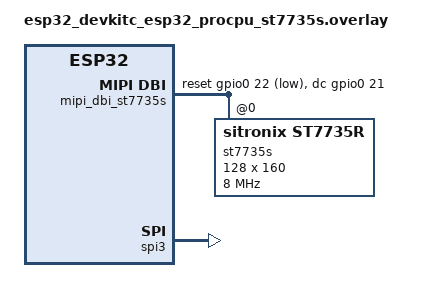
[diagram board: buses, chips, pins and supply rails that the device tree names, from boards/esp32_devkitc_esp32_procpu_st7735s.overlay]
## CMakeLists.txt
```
cmake_minimum_required(VERSION 3.20.0)
# Application-level demo selection is handled here (not in Kconfig):
# APP_DEMO_ENTRY: st7735s | st7789
set(APP_DEMO_ENTRY "st7735s" CACHE STRING "Demo entry: st7735s|st7789")
set_property(CACHE APP_DEMO_ENTRY PROPERTY STRINGS st7735s st7789)

# Auto-select overlay and extra conf defaults to keep west commands short.
# Users can still override with -DDTC_OVERLAY_FILE=... and -DEXTRA_CONF_FILE=...
if(NOT DEFINED DTC_OVERLAY_FILE)
    if(APP_DEMO_ENTRY STREQUAL "st7735s")
        set(DTC_OVERLAY_FILE "boards/esp32_devkitc_esp32_procpu_st7735s.overlay" CACHE STRING "Devicetree overlay" )
    else()
        set(DTC_OVERLAY_FILE "boards/esp32_devkitc_esp32_procpu_st7789.overlay" CACHE STRING "Devicetree overlay" )
    endif()
endif()

if(NOT DEFINED EXTRA_CONF_FILE)
    if(APP_DEMO_ENTRY STREQUAL "st7789")
        set(EXTRA_CONF_FILE "prj_st7789.conf" CACHE STRING "Extra Kconfig fragment" )
    endif()
endif()

find_package(Zephyr REQUIRED HINTS $ENV{ZEPHYR_BASE})
project(led_spi_display_verify C)

set(CMAKE_C_STANDARD 17)
set(CMAKE_C_STANDARD_REQUIRED ON)
set(CMAKE_C_EXTENSIONS OFF)

set(_APP_ENTRY_ST7735S 0)
set(_APP_ENTRY_ST7789 0)

if(APP_DEMO_ENTRY STREQUAL "st7735s")
    set(_APP_ENTRY_ST7735S 1)
elseif(APP_DEMO_ENTRY STREQUAL "st7789")
    set(_APP_ENTRY_ST7789 1)
else()
    message(FATAL_ERROR "Invalid APP_DEMO_ENTRY='${APP_DEMO_ENTRY}'. Use st7735s or st7789.")
endif()

target_compile_definitions(app PRIVATE
    APP_ENTRY_ST7735S=${_APP_ENTRY_ST7735S}
    APP_ENTRY_ST7789=${_APP_ENTRY_ST7789}
)

target_sources(app PRIVATE
    src/img/image_1_128x160_rgb565.c
    src/img/image_1_240x320_rgb565.c
    src/img/image_2_128x160_rgb565.c
    src/img/image_2_240x320_rgb565.c
    src/lcd_demo_common.c
    src/lcd_st7735s.c
    src/lcd_st7789.c
    src/main_st7735s.c
    src/main_st7789.c
    src/zpix12_font_data.c
)
```

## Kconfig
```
mainmenu "SPI display validation options"

source "Kconfig.zephyr"
```

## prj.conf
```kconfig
CONFIG_DISPLAY=y
CONFIG_DISPLAY_LOG_LEVEL_INF=y
CONFIG_SPI=y
CONFIG_GPIO=y
CONFIG_LOG=y
CONFIG_MAIN_STACK_SIZE=4096
```

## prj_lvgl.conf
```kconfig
CONFIG_LVGL=y

# Keep memory within ESP32 DRAM limits for the lightweight LVGL debug scene.
CONFIG_MAIN_STACK_SIZE=3584
CONFIG_HEAP_MEM_POOL_SIZE=7168

# LVGL Zephyr glue tuning for ST7789 color panel.
CONFIG_LV_Z_MEM_POOL_SIZE=3072
CONFIG_LV_Z_MONOCHROME_CONVERSION_BUFFER=n
CONFIG_LV_Z_BUFFER_ALLOC_DYNAMIC=y
CONFIG_LV_Z_BUFFER_ALLOC_STATIC=n
CONFIG_LV_COLOR_16_SWAP=y
CONFIG_ST7789V_RGB565=y
CONFIG_ST7789V_RGB565X=n
```

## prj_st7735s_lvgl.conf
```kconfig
CONFIG_LVGL=y

# Keep memory within ESP32 DRAM limits for the lightweight LVGL debug scene.
CONFIG_MAIN_STACK_SIZE=4096
CONFIG_HEAP_MEM_POOL_SIZE=24576

CONFIG_LV_Z_MEM_POOL_SIZE=16384
CONFIG_LV_Z_MONOCHROME_CONVERSION_BUFFER=n
CONFIG_LV_Z_BUFFER_ALLOC_DYNAMIC=y
CONFIG_LV_Z_BUFFER_ALLOC_STATIC=n
CONFIG_LV_Z_VDB_SIZE=10
CONFIG_LV_COLOR_16_SWAP=n
CONFIG_LV_FONT_UNSCII_16=y
```

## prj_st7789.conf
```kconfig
CONFIG_APP_ST7735S_DEMO=n
CONFIG_APP_ST7789_DEMO=y
```

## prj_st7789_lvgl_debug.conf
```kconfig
# Application switches are now controlled by CMake:
#   -DAPP_DEMO_ENTRY=st7789_lvgl_debug
#   -DAPP_USE_LVGL_DEMO=ON
# This file is kept for optional future LVGL-debug-only Kconfig additions.
```

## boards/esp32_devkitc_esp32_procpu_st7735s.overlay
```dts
#include <zephyr/dt-bindings/gpio/gpio.h>
#include <zephyr/dt-bindings/mipi_dbi/mipi_dbi.h>

/*
 * Wiring group A (ST7735S, 8-pin):
 * SCL/SCK -> GPIO18 (SPI3 SCK)
 * SDA/MOSI -> GPIO23 (SPI3 MOSI)
 * CS -> GPIO5
 * DC -> GPIO21
 * RES -> GPIO22
 * BLK -> GPIO4 (board-side backlight control, if used)
 */

/ {
    chosen {
        zephyr,display = &st7735s;
    };

    mipi_dbi_st7735s {
        compatible = "zephyr,mipi-dbi-spi";
        spi-dev = <&spi3>;
        dc-gpios = <&gpio0 21 GPIO_ACTIVE_HIGH>;
        reset-gpios = <&gpio0 22 GPIO_ACTIVE_LOW>;
        write-only;
        #address-cells = <1>;
        #size-cells = <0>;

        st7735s: st7735r@0 {
            compatible = "sitronix,st7735r";
            reg = <0>;
            mipi-max-frequency = <8000000>;
            mipi-mode = "MIPI_DBI_MODE_SPI_4WIRE";

            width = <128>;
            height = <160>;
            x-offset = <2>;
            y-offset = <1>;

            /* Keep inversion disabled; enabling it causes a negative-color image on this panel. */
            madctl = <0x00>;
            colmod = <0x05>;
            vmctr1 = <0x1a>;
            invctr = <0x03>;
            pwctr1 = [28 08 04];
            pwctr2 = [c0];
            pwctr3 = [0d 00];
            pwctr4 = [8d 2a];
            pwctr5 = [8d ee];
            frmctr1 = [05 3c 3c];
            frmctr2 = [05 3c 3c];
            frmctr3 = [05 3c 3c 05 3c 3c];
            caset = [00 02 00 81];
            raset = [00 01 00 a0];
            gamctrp1 = [04 22 07 0a 2e 30 25 2a 28 26 2e 3a 00 01 03 13];
            gamctrn1 = [04 16 06 0d 2d 26 23 27 27 25 2d 3b 00 01 04 13];
        };
    };
};

&spi3 {
    status = "okay";
    cs-gpios = <&gpio0 5 GPIO_ACTIVE_LOW>;
};
```

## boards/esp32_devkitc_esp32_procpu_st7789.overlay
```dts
#include <zephyr/dt-bindings/gpio/gpio.h>
#include <zephyr/dt-bindings/mipi_dbi/mipi_dbi.h>

/*
 * Wiring group B (ST7789, 7-pin):
 * SCL/SCK -> GPIO18 (SPI3 SCK, same as ST7735S)
 * SDA/MOSI -> GPIO23 (SPI3 MOSI, same as ST7735S)
 * CS -> GPIO5 (same as ST7735S)
 * DC -> GPIO21 (same as ST7735S)
 * RST -> GPIO22 (same as ST7735S)
 */

/ {
    chosen {
        zephyr,display = &st7789;
    };

    mipi_dbi_st7789 {
        compatible = "zephyr,mipi-dbi-spi";
        spi-dev = <&spi3>;
        dc-gpios = <&gpio0 21 GPIO_ACTIVE_HIGH>;
        reset-gpios = <&gpio0 22 GPIO_ACTIVE_LOW>;
        write-only;
        #address-cells = <1>;
        #size-cells = <0>;

        st7789: st7789v@0 {
            compatible = "sitronix,st7789v";
            reg = <0>;
            mipi-max-frequency = <26000000>;
            mipi-mode = "MIPI_DBI_MODE_SPI_4WIRE";

            width = <240>;
            height = <320>;
            x-offset = <0>;
            y-offset = <0>;
            vcom = <0x20>;
            gctrl = <0x56>;
            vrhs = <0x1f>;
            vdvs = <0x20>;
            mdac = <0xc0>;
            gamma = <0x01>;
            colmod = <0x55>;
            lcm = <0x2c>;
            porch-param = [0c 0c 00 33 33];
            cmd2en-param = [5a 69 02 00];
            pwctrl1-param = [a6 a1];
            pvgam-param = [d0 0d 14 0b 0b 07 3a 44 50 08 13 13 2d 32];
            nvgam-param = [d0 0d 14 0b 0b 07 3a 44 50 08 13 13 2d 32];
            ram-param = [00 e0];
            rgb-param = [40 02 14];
        };
    };
};

&spi3 {
    status = "okay";
    cs-gpios = <&gpio0 5 GPIO_ACTIVE_LOW>;
};
```

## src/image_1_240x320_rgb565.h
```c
#ifndef IMAGE_1_240X320_RGB565_H_
#define IMAGE_1_240X320_RGB565_H_

#include <stdint.h>

extern const uint8_t src_image_1_240x320_rgb565[];
extern const uint32_t src_image_1_240x320_rgb565_len;

#endif /* IMAGE_1_240X320_RGB565_H_ */
```

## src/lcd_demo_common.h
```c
#ifndef LCD_DEMO_COMMON_H_
#define LCD_DEMO_COMMON_H_

#include <stdint.h>

struct lcd_demo_profile {
    /* Identity and text content. */
    const char *panel_name;
    const char *title;
    const char *subtitle;
    const char *counter_prefix;

    /* Text and background colors (RGB565). */
    uint16_t title_color;
    uint16_t subtitle_color;
    uint16_t counter_color;
    uint16_t bg_color;

    /* Shared renderer pacing and layout. */
    uint32_t fill_block_rows;
    uint32_t counter_period_ms;
    uint8_t char_spacing;
    uint8_t line_spacing;
    uint8_t glyph_size_px;

    /* Primary image payload (RGB565 big-endian byte stream). */
    const uint8_t *image_data;
    uint32_t image_width;
    uint32_t image_height;
    uint32_t image_buf_size;

    /* Optional secondary image for slideshow mode. */
    const uint8_t *image_data_alt;
    uint32_t image_alt_width;
    uint32_t image_alt_height;
    uint32_t image_alt_buf_size;

    /* Slideshow/overlay behavior controls. */
    uint32_t image_switch_period_ms;
    uint32_t startup_white_hold_ms;
    uint32_t subtitle_frame_ms;
    uint8_t subtitle_step_px;
    uint8_t image_slideshow_only;
};

/* Run the shared demo pipeline using panel-specific profile settings. */
int lcd_demo_common_run(const struct lcd_demo_profile *profile);

#endif /* LCD_DEMO_COMMON_H_ */
```

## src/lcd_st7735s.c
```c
#include "lcd_st7735s.h"
#include "lcd_demo_common.h"
#include "img/image_1_128x160_rgb565.h"
#include "img/image_2_128x160_rgb565.h"

enum {
    ST7735S_SWITCH_PERIOD_MS = 2000,
    ST7735S_STARTUP_WHITE_MS = 80,
    ST7735S_SUBTITLE_FRAME_MS = 80,
    ST7735S_SUBTITLE_STEP_PX = 2,
};

static const struct lcd_demo_profile st7735s_profile = {
    .panel_name = "ST7735S",
    .title = "\xE5\x8A\xA8\xE6\x80\x81\xE5\xAD\x97\xE5\xB9\x95 Dynamic Caption",
    .subtitle = "\xE4\xB8\x8A\xE4\xB8\x8B\xE8\xB7\x91\xE5\x8A\xA8 / Bilingual Overlay",
    .counter_prefix = "\xE8\xAE\xA1\xE6\x95\xB0 Count:",
    .title_color = 0x0000,
    .subtitle_color = 0x0000,
    .counter_color = 0x0000,
    .bg_color = 0x0000,
    .fill_block_rows = 24U,
    .counter_period_ms = 400U,
    .char_spacing = 1U,
    .line_spacing = 2U,
    .glyph_size_px = 12U,
    .image_data = src_image_1_128x160_rgb565,
    .image_width = 128U,
    .image_height = 160U,
    .image_buf_size = 128U * 160U * 2U,
    .image_data_alt = src_image_2_128x160_rgb565,
    .image_alt_width = 128U,
    .image_alt_height = 160U,
    .image_alt_buf_size = 128U * 160U * 2U,
    .image_switch_period_ms = ST7735S_SWITCH_PERIOD_MS,
    .startup_white_hold_ms = ST7735S_STARTUP_WHITE_MS,
    .subtitle_frame_ms = ST7735S_SUBTITLE_FRAME_MS,
    .subtitle_step_px = ST7735S_SUBTITLE_STEP_PX,
    .image_slideshow_only = 1U,
};

int lcd_st7735s_demo_run(void)
{
    return lcd_demo_common_run(&st7735s_profile);
}
```

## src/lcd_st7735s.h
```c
#ifndef LCD_ST7735S_H_
#define LCD_ST7735S_H_

/* Run ST7735S slideshow loop: dual images + moving bilingual black subtitle. */
int lcd_st7735s_demo_run(void);

#endif /* LCD_ST7735S_H_ */
```

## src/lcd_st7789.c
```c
#include "lcd_st7789.h"
#include "lcd_demo_common.h"
#include "img/image_1_240x320_rgb565.h"
#include "img/image_2_240x320_rgb565.h"

enum {
    ST7789_SWITCH_PERIOD_MS = 2000,
    ST7789_STARTUP_WHITE_MS = 80,
    ST7789_SUBTITLE_FRAME_MS = 80,
    ST7789_SUBTITLE_STEP_PX = 2,
};

static const struct lcd_demo_profile st7789_profile = {
    .panel_name = "ST7789",
    .title = "\xE5\x8A\xA8\xE6\x80\x81\xE5\xAD\x97\xE5\xB9\x95 Dynamic Caption",
    .subtitle = "\xE4\xB8\x8A\xE4\xB8\x8B\xE8\xB7\x91\xE5\x8A\xA8 / Bilingual Overlay",
    .counter_prefix = "\xE8\xAE\xA1\xE6\x95\xB0 Count:",
    .title_color = 0x0000,
    .subtitle_color = 0x0000,
    .counter_color = 0x0000,
    .bg_color = 0x0000,
    .fill_block_rows = 32U,
    .counter_period_ms = 400U,
    .char_spacing = 1U,
    .line_spacing = 2U,
    .image_data = src_image_1_240x320_rgb565,
    .image_width = 240U,
    .image_height = 320U,
    .image_buf_size = 240U * 320U * 2U,
    .image_data_alt = src_image_2_240x320_rgb565,
    .image_alt_width = 240U,
    .image_alt_height = 320U,
    .image_alt_buf_size = 240U * 320U * 2U,
    .image_switch_period_ms = ST7789_SWITCH_PERIOD_MS,
    .startup_white_hold_ms = ST7789_STARTUP_WHITE_MS,
    .subtitle_frame_ms = ST7789_SUBTITLE_FRAME_MS,
    .subtitle_step_px = ST7789_SUBTITLE_STEP_PX,
    .image_slideshow_only = 1U,
};

int lcd_st7789_demo_run(void)
{
    return lcd_demo_common_run(&st7789_profile);
}
```

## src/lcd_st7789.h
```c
#ifndef LCD_ST7789_H_
#define LCD_ST7789_H_

/* Run ST7789 slideshow loop: dual images + moving bilingual black subtitle. */
int lcd_st7789_demo_run(void);

#endif /* LCD_ST7789_H_ */
```

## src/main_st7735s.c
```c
#include "lcd_st7735s.h"

#if ((APP_ENTRY_ST7735S ? 1 : 0) + \
    (APP_ENTRY_ST7789 ? 1 : 0)) > 1
#error "Enable only one demo entry via APP_DEMO_ENTRY"
#endif

#if APP_ENTRY_ST7735S
int main(void)
{
    return lcd_st7735s_demo_run();
}

#endif
```

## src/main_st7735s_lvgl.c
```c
#include "lcd_st7735s.h"

#if ((APP_ENTRY_ST7735S ? 1 : 0) + \
    (APP_ENTRY_ST7735S_LVGL ? 1 : 0) + \
    (APP_ENTRY_ST7789 ? 1 : 0) + \
    (APP_ENTRY_ST7789_LVGL_DEBUG ? 1 : 0)) > 1
#error "Enable only one demo entry via APP_DEMO_ENTRY"
#endif

#if APP_ENTRY_ST7735S_LVGL

#if !APP_ENABLE_LVGL_DEMO
#error "st7735s_lvgl entry requires APP_USE_LVGL_DEMO=ON"
#endif

int main(void)
{
    return lcd_st7735s_demo_run();
}

#endif
```
